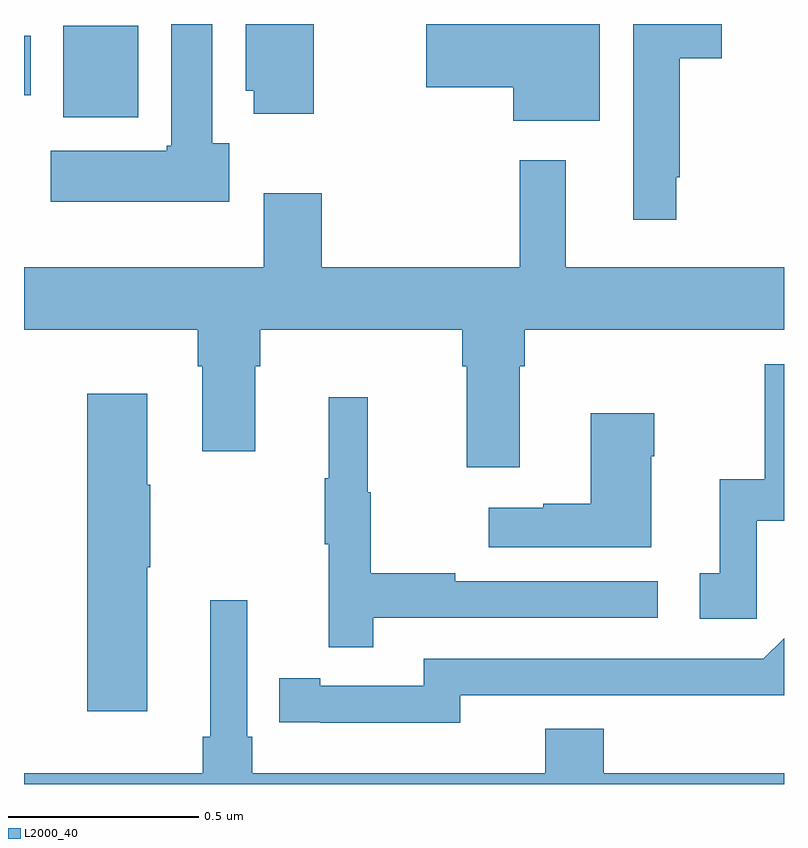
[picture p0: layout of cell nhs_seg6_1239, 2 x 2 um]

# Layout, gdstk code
import gdstk
lib = gdstk.Library(unit=1e-6, precision=1e-09)
def R(c, l, rs):  # rectangles x0, y0, x1, y1
    for r in rs: c.add(gdstk.rectangle(r[:2], r[2:], *l))
def P(c, l, *ps):  # polygons
    for p in ps: c.add(gdstk.Polygon(p, *l))
L2000_40 = (2000, 40)

nhs_seg6_1239 = lib.new_cell('nhs_seg6_1239')
R(nhs_seg6_1239, L2000_40, [(127.103,921.254,127.3,921.496), (127,921.313,127.018,921.469)])
P(nhs_seg6_1239, L2000_40, [(127.54,921.186),(127.495,921.186),(127.495,921.5),(127.388,921.5),(127.388,921.18),(127.375,921.18),(127.375,921.166),(127.071,921.166),(127.071,921.032),(127.54,921.032)],
  [(128.515,921.499),(128.292,921.499),(128.292,921.5),(128.058,921.5),(128.058,921.334),(128.288,921.334),(128.288,921.245),(128.515,921.245)],
  [(128.717,921.097),(128.725,921.097),(128.725,921.41),(128.836,921.41),(128.836,921.5),(128.603,921.5),(128.603,920.985),(128.717,920.985)],
  [(127.762,921.5),(127.583,921.5),(127.583,921.324),(127.604,921.324),(127.604,921.264),(127.762,921.264)],
  [(128.305,920.6),(128.318,920.6),(128.318,920.696),(129,920.696),(129,920.86),(128.425,920.86),(128.425,921.142),(128.304,921.142),(128.304,920.86),(127.784,920.86),(127.784,921.055),(127.631,921.055),(127.631,920.86),(127,920.86),(127,920.696),(127.457,920.696),(127.457,920.6),(127.469,920.6),(127.469,920.376),(127.609,920.376),(127.609,920.6),(127.622,920.6),(127.622,920.696),(128.153,920.696),(128.153,920.6),(128.165,920.6),(128.165,920.334),(128.305,920.334)],
  [(128.928,920.193),(129,920.193),(129,920.604),(128.949,920.604),(128.949,920.302),(128.831,920.302),(128.831,920.055),(128.778,920.055),(128.778,919.935),(128.928,919.935)],
  [(127.324,920.071),(127.332,920.071),(127.332,920.288),(127.324,920.288),(127.324,920.527),(127.166,920.527),(127.166,919.692),(127.324,919.692)],
  [(127.919,919.938),(128.668,919.938),(128.668,920.034),(128.135,920.034),(128.135,920.054),(127.912,920.054),(127.912,920.268),(127.904,920.268),(127.904,920.518),(127.802,920.518),(127.802,920.305),(127.791,920.305),(127.791,920.131),(127.802,920.131),(127.802,919.86),(127.919,919.86)],
  [(128.65,920.363),(128.658,920.363),(128.658,920.476),(128.492,920.476),(128.492,920.237),(128.366,920.237),(128.366,920.227),(128.223,920.227),(128.223,920.123),(128.65,920.123)],
  [(129,919.528),(128.525,919.528),(128.525,919.645),(128.372,919.645),(128.372,919.528),(127.601,919.528),(127.601,919.624),(127.587,919.624),(127.587,919.984),(127.49,919.984),(127.49,919.624),(127.471,919.624),(127.471,919.528),(127,919.528),(127,919.5),(129,919.5)],
  [(128.148,919.734),(128.608,919.734),(128.608,919.733),(129,919.733),(129,919.884),(128.946,919.83),(128.052,919.83),(128.052,919.758),(127.78,919.758),(127.78,919.778),(127.672,919.778),(127.672,919.662),(127.78,919.662),(127.78,919.661),(128.148,919.661)])

lib.write_gds('nhs_seg6_1239.gds')
